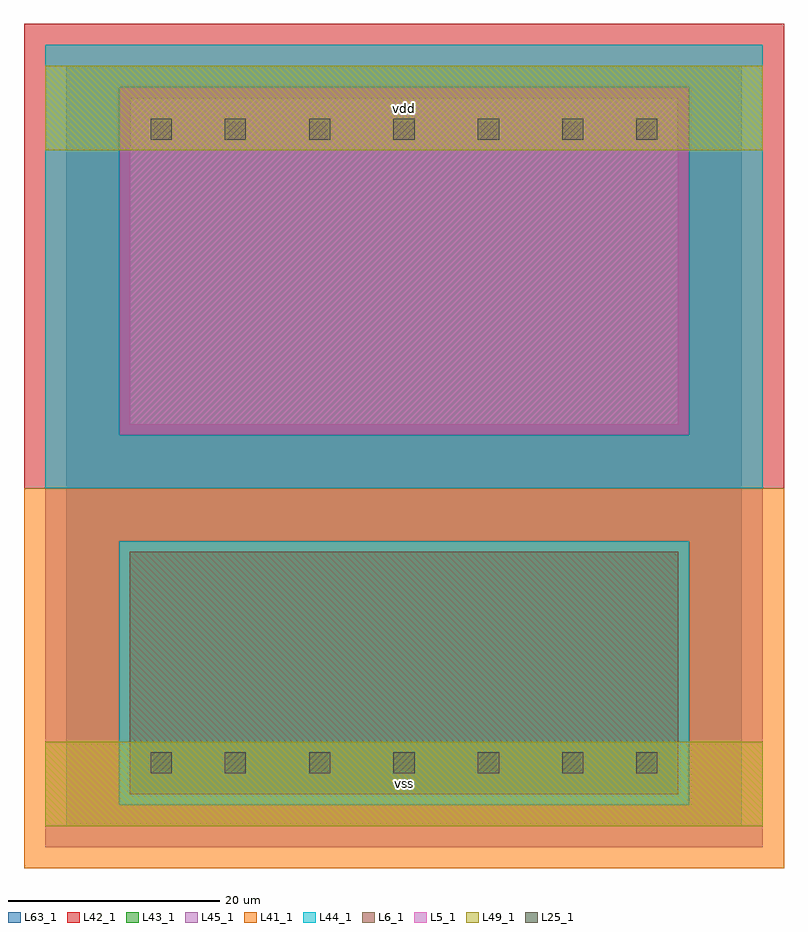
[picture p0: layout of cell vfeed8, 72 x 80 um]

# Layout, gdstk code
import gdstk
lib = gdstk.Library(unit=1e-6, precision=1e-09)
def R(c, l, rs):  # rectangles x0, y0, x1, y1
    for r in rs: c.add(gdstk.rectangle(r[:2], r[2:], *l))
def A(c, l, x, y, w, h, nx, ny, dx, dy):  # array of equal rectangles
    R(c, l, [(x+i*dx, y+j*dy, x+i*dx+w, y+j*dy+h) for i in range(nx) for j in range(ny)])
L5_1 = (5, 1)
L6_1 = (6, 1)
L25_1 = (25, 1)
L41_1 = (41, 1)
L42_1 = (42, 1)
L43_1 = (43, 1)
L44_1 = (44, 1)
L45_1 = (45, 1)
L49_1 = (49, 1)
L63_1 = (63, 1)

vfeed8 = lib.new_cell('vfeed8')
R(vfeed8, L5_1, [(6,38,58,69)])
R(vfeed8, L6_1, [(6,3,58,26), (6,3,58,26)])
A(vfeed8, L25_1, 15, 5, 2, 2, 5, 2, 8, 60)
R(vfeed8, L25_1, [(8,5,10,7), (54,5,56,7), (8,65,10,67), (54,65,56,67)])
R(vfeed8, L41_1, [(-4,-4,68,32)])
R(vfeed8, L42_1, [(-4,32,68,76)])
R(vfeed8, L43_1, [(6,3,58,26), (6,38,58,69)])
R(vfeed8, L44_1, [(5,2,59,27), (-2,32,66,37), (-2,37,5,70), (59,37,66,70), (-2,70,66,74)])
R(vfeed8, L45_1, [(-2,-2,66,2), (-2,2,5,27), (59,2,66,27), (-2,27,66,32), (5,37,59,70)])
R(vfeed8, L49_1, [(-2,0,66,8), (-2,64,66,72)])
R(vfeed8, L63_1, [(0,0,64,72)])
vfeed8.add(gdstk.Label('vss', (32,4), layer=49, texttype=1))
vfeed8.add(gdstk.Label('vdd', (32,68), layer=49, texttype=1))

lib.write_gds('vfeed8.gds')
